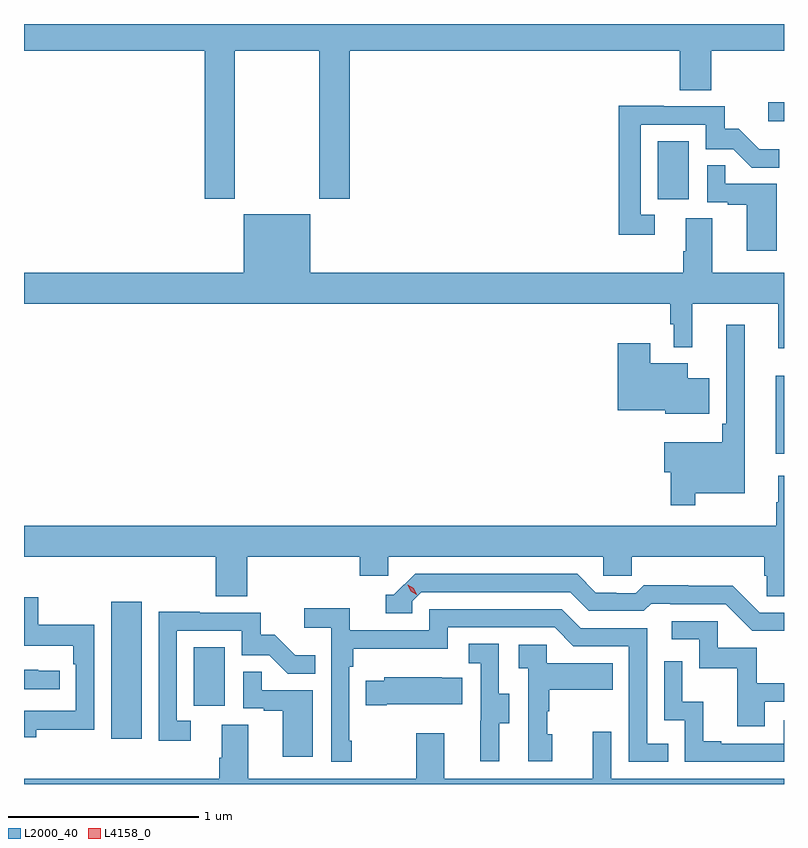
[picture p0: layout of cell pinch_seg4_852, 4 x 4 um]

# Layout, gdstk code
import gdstk
lib = gdstk.Library(unit=1e-6, precision=1e-09)
def R(c, l, rs):  # rectangles x0, y0, x1, y1
    for r in rs: c.add(gdstk.rectangle(r[:2], r[2:], *l))
def P(c, l, *ps):  # polygons
    for p in ps: c.add(gdstk.Polygon(p, *l))
L2000_40 = (2000, 40)
L4158_0 = (4158, 0)

pinch_seg4_852 = lib.new_cell('pinch_seg4_852')
R(pinch_seg4_852, L2000_40, [(862.853,795.864,863.014,796.585), (863.288,796.038,863.452,796.345), (866.351,797.363,866.395,797.773), (865.73,798.702,865.894,799.009), (866.313,799.112,866.395,799.214)])
P(pinch_seg4_852, L2000_40, [(863.505,799.484),(863.95,799.484),(863.95,798.705),(864.11,798.705),(864.11,799.484),(865.847,799.484),(865.847,799.276),(866.012,799.276),(866.012,799.484),(866.395,799.484),(866.395,799.625),(862.395,799.625),(862.395,799.484),(863.345,799.484),(863.345,798.705),(863.505,798.705)],
  [(865.714,798.621),(865.641,798.621),(865.641,799.095),(865.983,799.095),(865.983,798.966),(866.127,798.966),(866.225,798.868),(866.369,798.868),(866.369,798.967),(866.265,798.967),(866.158,799.074),(866.082,799.074),(866.082,799.191),(865.763,799.191),(865.763,799.196),(865.525,799.196),(865.525,798.516),(865.714,798.516)],
  [(866.356,798.783),(866.087,798.783),(866.087,798.881),(865.992,798.881),(865.992,798.687),(866.099,798.687),(866.099,798.675),(866.198,798.675),(866.198,798.432),(866.356,798.432)],
  [(866.395,798.316),(866.017,798.316),(866.017,798.602),(865.877,798.602),(865.877,798.428),(865.865,798.428),(865.865,798.316),(863.902,798.316),(863.902,798.625),(863.552,798.625),(863.552,798.316),(862.395,798.316),(862.395,798.152),(865.795,798.152),(865.795,798.045),(865.815,798.045),(865.815,797.924),(865.913,797.924),(865.913,798.152),(866.366,798.152),(866.366,797.919),(866.395,797.919)],
  [(865.927,797.156),(866.188,797.156),(866.188,798.043),(866.091,798.043),(866.091,797.521),(866.071,797.521),(866.071,797.425),(865.764,797.425),(865.764,797.267),(865.798,797.267),(865.798,797.091),(865.927,797.091)],
  [(866.002,797.761),(865.888,797.761),(865.888,797.839),(865.69,797.839),(865.69,797.944),(865.52,797.944),(865.52,797.591),(865.77,797.591),(865.77,797.573),(866.002,797.573)],
  [(863.57,796.82),(864.161,796.82),(864.161,796.722),(864.312,796.722),(864.312,796.82),(865.443,796.82),(865.443,796.722),(865.593,796.722),(865.593,796.82),(866.291,796.82),(866.291,796.722),(866.305,796.722),(866.305,796.612),(866.395,796.612),(866.395,797.248),(866.366,797.248),(866.366,797.108),(866.355,797.108),(866.355,796.984),(862.395,796.984),(862.395,796.82),(863.405,796.82),(863.405,796.612),(863.57,796.612)],
  [(866.395,796.527),(866.268,796.527),(866.126,796.669),(865.89,796.669),(865.89,796.672),(865.657,796.672),(865.615,796.629),(865.512,796.629),(865.512,796.632),(865.405,796.632),(865.306,796.731),(864.453,796.731),(864.342,796.62),(864.299,796.62),(864.299,796.524),(864.438,796.524),(864.438,796.587),(864.486,796.635),(865.269,796.635),(865.368,796.536),(865.657,796.536),(865.696,796.575),(865.795,796.575),(865.795,796.572),(866.088,796.572),(866.229,796.431),(866.395,796.431)],
  [(862.459,795.91),(862.764,795.91),(862.764,796.462),(862.471,796.462),(862.471,796.608),(862.395,796.608),(862.395,796.352),(862.655,796.352),(862.655,796.256),(862.668,796.256),(862.668,796.011),(862.395,796.011),(862.395,795.872),(862.459,795.872)],
  [(864.121,795.853),(864.108,795.853),(864.108,796.241),(864.128,796.241),(864.128,796.337),(864.624,796.337),(864.624,796.449),(865.188,796.449),(865.287,796.35),(865.578,796.35),(865.578,795.741),(865.787,795.741),(865.787,795.837),(865.674,795.837),(865.674,796.446),(865.324,796.446),(865.225,796.545),(864.528,796.545),(864.528,796.434),(864.11,796.434),(864.11,796.55),(863.871,796.55),(863.871,796.448),(864.012,796.448),(864.012,795.741),(864.121,795.741)],
  [(863.272,795.957),(863.199,795.957),(863.199,796.431),(863.541,796.431),(863.541,796.302),(863.685,796.302),(863.783,796.204),(863.927,796.204),(863.927,796.303),(863.823,796.303),(863.716,796.41),(863.64,796.41),(863.64,796.527),(863.321,796.527),(863.321,796.532),(863.103,796.532),(863.103,795.852),(863.272,795.852)],
  [(866.293,796.059),(866.395,796.059),(866.395,796.155),(866.251,796.155),(866.251,796.341),(866.046,796.341),(866.046,796.482),(865.803,796.482),(865.803,796.386),(865.95,796.386),(865.95,796.233),(866.149,796.233),(866.149,795.93),(866.293,795.93)],
  [(864.895,795.946),(864.949,795.946),(864.949,796.101),(864.894,796.101),(864.894,796.364),(864.735,796.364),(864.735,796.261),(864.798,796.261),(864.798,795.957),(864.797,795.957),(864.797,795.744),(864.895,795.744)],
  [(865.174,795.888),(865.149,795.888),(865.149,796.007),(865.159,796.007),(865.159,796.121),(865.493,796.121),(865.493,796.261),(865.146,796.261),(865.146,796.359),(864.999,796.359),(864.999,796.235),(865.05,796.235),(865.05,795.744),(865.174,795.744)],
  [(866.395,795.96),(866.394,795.96),(866.394,795.837),(866.065,795.837),(866.065,795.85),(865.97,795.85),(865.97,796.058),(865.86,796.058),(865.86,796.27),(865.764,796.27),(865.764,795.96),(865.872,795.96),(865.872,795.741),(866.395,795.741)],
  [(862.582,796.221),(862.469,796.221),(862.469,796.226),(862.395,796.226),(862.395,796.125),(862.582,796.125)],
  [(863.914,796.119),(863.645,796.119),(863.645,796.217),(863.55,796.217),(863.55,796.023),(863.657,796.023),(863.657,796.011),(863.756,796.011),(863.756,795.768),(863.914,795.768)],
  [(864.304,796.046),(864.701,796.046),(864.701,796.183),(864.593,796.183),(864.593,796.186),(864.291,796.186),(864.291,796.168),(864.193,796.168),(864.193,796.039),(864.304,796.039)],
  [(866.395,795.652),(865.485,795.652),(865.485,795.901),(865.388,795.901),(865.388,795.652),(864.607,795.652),(864.607,795.892),(864.46,795.892),(864.46,795.652),(863.575,795.652),(863.575,795.938),(863.435,795.938),(863.435,795.764),(863.423,795.764),(863.423,795.652),(862.395,795.652),(862.395,795.625),(866.395,795.625)])
P(pinch_seg4_852, L4158_0, [(864.462,796.621),(864.431,796.64),(864.415,796.673),(864.415,796.673),(864.415,796.673),(864.446,796.654),(864.462,796.621),(864.462,796.621)])

lib.write_gds('pinch_seg4_852.gds')
